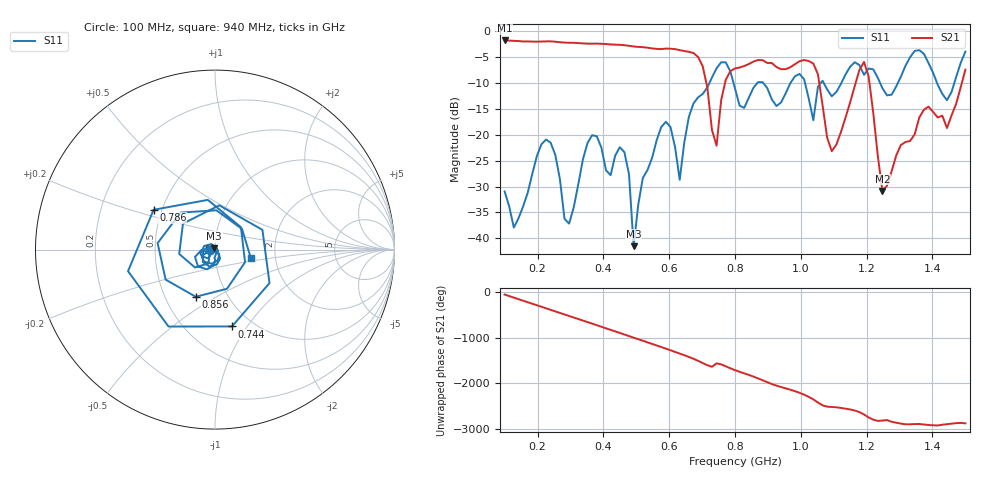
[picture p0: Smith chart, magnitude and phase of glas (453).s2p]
! NanoVNA-App
! Date: 2025-09-25 15:59:00
! Start: 100MHz Stop: 1,5GHz Points: 101
! S-Parameter data: F S11 S21 S12 S22
# Hz S RI R 50
!  Frequency  S11_Real  S11_Imag  S21_Real  S21_Imag  S12_Real  S12_Imag  S22_Real  S22_Imag
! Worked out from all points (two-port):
!   101 points, 100 MHz to 1.5 GHz, reference 50 ohm
!   highest |S21| = -1.80 dB at 100 MHz (marker M1); lowest = -30.9 dB at 1.248 GHz (marker M2)
!   |S21| within 3 dB of the highest: start of sweep to 684.4 MHz
!   lowest |S11| = -41.5 dB at 492 MHz (marker M3), VSWR 1.02, Z = 49.4 + j0.626 ohm
!   |S11| at or under -10 dB: start of sweep to 722.4 MHz; 795.5 MHz to 868 MHz (72.54 MHz wide, 8.72 % of centre); 885.8 MHz to 968.6 MHz (82.75 MHz wide, 8.93 % of centre) (the widest 3 of 7)
!   S12 and S22 are empty: the file has one direction only
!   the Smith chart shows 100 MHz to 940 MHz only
!   S11 on the Smith chart (normalised r, x): 100 MHz: 0.95, -0.01; 744 MHz: 0.81, -0.85; 786 MHz: 0.45, +0.24; 856 MHz: 0.71, -0.41; 940 MHz: 1.49, -0.15
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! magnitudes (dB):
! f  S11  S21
! 100 MHz  -30.9  -1.8
! 128 MHz  -37.9  -1.9
! 226 MHz  -20.9  -2.0
! 296 MHz  -37.1  -2.2
! 338 MHz  -24.7  -2.4
! 464 MHz  -23.4  -2.7
! 492 MHz  -41.5  -3.0
! 576 MHz  -18.5  -3.5
! 632 MHz  -28.7  -3.7
! 702 MHz  -12.1  -6.8
! 744 MHz  -7.2  -22.1
! 786 MHz  -7.8  -7.7
! 800 MHz  -11.1  -7.2
! 856 MHz  -10.9  -5.9
! 940 MHz  -13.8  -7.3
! 996 MHz  -8.3  -5.8
! 1.038 GHz  -17.2  -6.3
! 1.094 GHz  -12.6  -23.2
! 1.192 GHz  -8.4  -6.0
! 1.248 GHz  -11.0  -30.9
! 1.276 GHz  -12.3  -27.0
! 1.5 GHz  -3.9  -7.4
